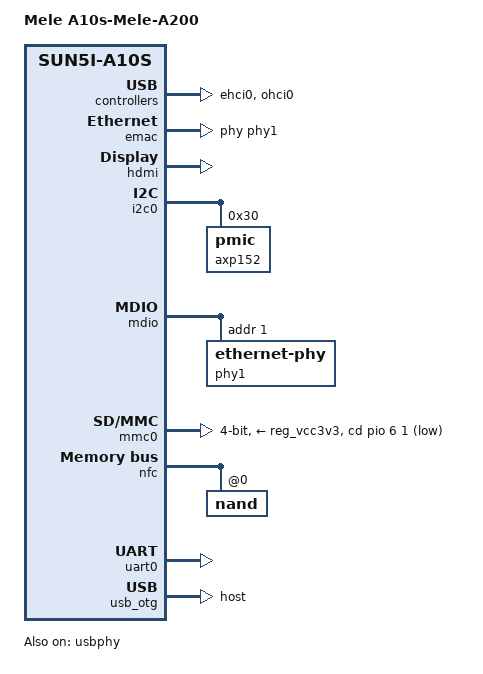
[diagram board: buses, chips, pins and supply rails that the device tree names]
/*
 * Copyright 2015 Yangkunlun
 *
 * Yangkunlun <yangkunlun@gmail.com>
 *
 * This file is dual-licensed: you can use it either under the terms
 * of the GPL or the X11 license, at your option. Note that this dual
 * licensing only applies to this file, and not this project as a
 * whole.
 *
 *  a) This file is free software; you can redistribute it and/or
 *     modify it under the terms of the GNU General Public License as
 *     published by the Free Software Foundation; either version 2 of the
 *     License, or (at your option) any later version.
 *
 *     This file is distributed in the hope that it will be useful,
 *     but WITHOUT ANY WARRANTY; without even the implied warranty of
 *     MERCHANTABILITY or FITNESS FOR A PARTICULAR PURPOSE.  See the
 *     GNU General Public License for more details.
 *
 * Or, alternatively,
 *
 *  b) Permission is hereby granted, free of charge, to any person
 *     obtaining a copy of this software and associated documentation
 *     files (the "Software"), to deal in the Software without
 *     restriction, including without limitation the rights to use,
 *     copy, modify, merge, publish, distribute, sublicense, and/or
 *     sell copies of the Software, and to permit persons to whom the
 *     Software is furnished to do so, subject to the following
 *     conditions:
 *
 *     The above copyright notice and this permission notice shall be
 *     included in all copies or substantial portions of the Software.
 *
 *     THE SOFTWARE IS PROVIDED "AS IS", WITHOUT WARRANTY OF ANY KIND,
 *     EXPRESS OR IMPLIED, INCLUDING BUT NOT LIMITED TO THE WARRANTIES
 *     OF MERCHANTABILITY, FITNESS FOR A PARTICULAR PURPOSE AND
 *     NONINFRINGEMENT. IN NO EVENT SHALL THE AUTHORS OR COPYRIGHT
 *     HOLDERS BE LIABLE FOR ANY CLAIM, DAMAGES OR OTHER LIABILITY,
 *     WHETHER IN AN ACTION OF CONTRACT, TORT OR OTHERWISE, ARISING
 *     FROM, OUT OF OR IN CONNECTION WITH THE SOFTWARE OR THE USE OR
 *     OTHER DEALINGS IN THE SOFTWARE.
 */

/dts-v1/;
#include "sun5i-a10s.dtsi"
#include "sunxi-common-regulators.dtsi"

#include <dt-bindings/gpio/gpio.h>
#include <dt-bindings/input/input.h>
#include <dt-bindings/pinctrl/sun4i-a10.h>

/ {
	model = "Mele A10s-Mele-A200";
	compatible = "mele,a10s-mele-a200", "allwinner,sun5i-a10s";

	aliases {
		serial0 = &uart0;
	};

	chosen {
		stdout-path = "serial0:115200n8";
	};
};

&ehci0 {
	status = "okay";
};

&emac {
	pinctrl-names = "default";
	pinctrl-0 = <&emac_pa_pins>;
	phy = <&phy1>;
	status = "okay";
};

&emac_sram {
	status = "okay";
};

&hdmi {
	status = "okay";
};

&i2c0 {
	status = "okay";

	axp152: pmic@30 {
		reg = <0x30>;
		interrupts = <0>;
	};
};

#include "axp152.dtsi"

&mdio {
	status = "okay";

	phy1: ethernet-phy@1 {
		reg = <1>;
	};
};

&mmc0 {
    vmmc-supply = <&reg_vcc3v3>;
    bus-width = <4>;
    cd-gpios = <&pio 6 1 GPIO_ACTIVE_HIGH>; /* PG1 */
    cd-inverted;
    status = "okay";
};

&nfc {
	pinctrl-names = "default";
	pinctrl-0 = <&nand_pins &nand_cs0_pin &nand_rb0_pin>;
	status = "okay";

	nand@0 {
		#address-cells = <2>;
		#size-cells = <2>;
		reg = <0>;
		allwinner,rb = <0>;
		nand-ecc-mode = "hw";

		boot0@0 {
			label = "boot0";
			reg = /bits/ 64 <0x0 0x200000>;
		};

		boot0-rescue@200000 {
			label = "boot0-rescue";
			reg = /bits/ 64 <0x200000 0x200000>;
		};

		uboot@400000 {
			label = "uboot";
			reg = /bits/ 64 <0x400000 0x200000>;
		};

		uboot-rescue@600000 {
			label = "uboot-rescue";
			reg = /bits/ 64 <0x600000 0x200000>;
		};

		main@800000 {
			label = "main";
			reg = /bits/ 64 <0x800000 0xff800000>;
		};
	};
};

&ohci0 {
	status = "okay";
};

&otg_sram {
	status = "okay";
};

&pio {
    	mmc0_cd_pin_olinuxino_micro: mmc0_cd_pin@0 {
        	allwinner,pins = "PG1";
		allwinner,function = "gpio_in";
		allwinner,drive = <SUN4I_PINCTRL_10_MA>;
		allwinner,pull = <SUN4I_PINCTRL_PULL_UP>;
	};
	usb0_id_detect_pin: usb0_id_detect_pin@0 {
		allwinner,pins = "PG13";
		allwinner,function = "gpio_in";
		allwinner,drive = <SUN4I_PINCTRL_10_MA>;
		allwinner,pull = <SUN4I_PINCTRL_PULL_UP>;
	};
	usb0_vbus_detect_pin: usb0_vbus_detect_pin@0 {
		allwinner,pins = "PG0";
		allwinner,function = "gpio_in";
		allwinner,drive = <SUN4I_PINCTRL_10_MA>;
		allwinner,pull = <SUN4I_PINCTRL_PULL_DOWN>;
	};
};

&reg_usb0_vbus {
	gpio = <&pio 3 25 GPIO_ACTIVE_HIGH>;
	status = "okay";
};

&uart0 {
	pinctrl-names = "default";
	pinctrl-0 = <&uart0_pb_pins>;
	status = "okay";
};

&usb_otg {
	dr_mode = "host";
	status = "okay";
};

&usbphy {
    pinctrl-names = "default";
	pinctrl-0 = <&usb0_id_detect_pin>, <&usb0_vbus_detect_pin>;
	usb0_id_det-gpios = <&pio 6 13 GPIO_ACTIVE_HIGH>; /* PG13 */
	usb0_vbus-supply = <&reg_usb0_vbus>;
    usb1_vbus-supply = <&reg_vcc5v0>;
    status = "okay";
};
